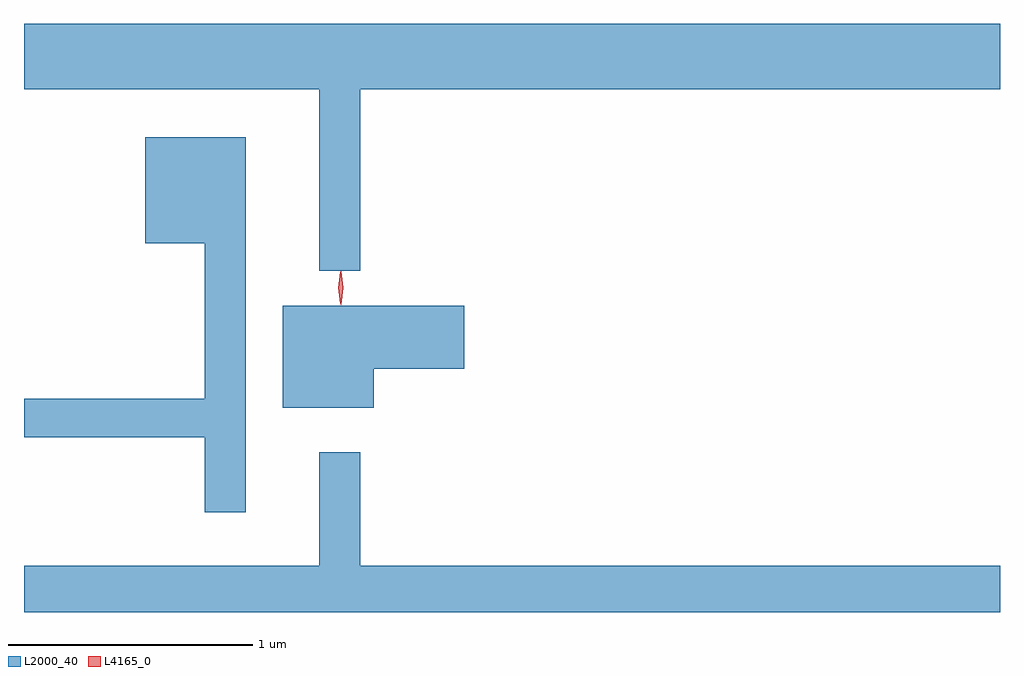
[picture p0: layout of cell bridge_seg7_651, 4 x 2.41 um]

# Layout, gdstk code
import gdstk
lib = gdstk.Library(unit=1e-6, precision=1e-09)
def P(c, l, *ps):  # polygons
    for p in ps: c.add(gdstk.Polygon(p, *l))
L2000_40 = (2000, 40)
L4165_0 = (4165, 0)

bridge_seg7_651 = lib.new_cell('bridge_seg7_651')
P(bridge_seg7_651, L2000_40, [(877.739,1736.516),(880.36,1736.516),(880.36,1736.784),(876.36,1736.784),(876.36,1736.516),(877.571,1736.516),(877.571,1735.773),(877.739,1735.773)],
  [(877.269,1736.319),(876.856,1736.319),(876.856,1735.886),(877.101,1735.886),(877.101,1735.249),(876.36,1735.249),(876.36,1735.091),(877.101,1735.091),(877.101,1734.783),(877.269,1734.783)],
  [(877.794,1735.371),(878.164,1735.371),(878.164,1735.629),(877.421,1735.629),(877.421,1735.211),(877.794,1735.211)],
  [(880.36,1734.564),(877.739,1734.564),(877.739,1735.028),(877.571,1735.028),(877.571,1734.564),(876.36,1734.564),(876.36,1734.374),(880.36,1734.374)])
P(bridge_seg7_651, L4165_0, [(877.659,1735.634),(877.65,1735.702),(877.659,1735.77),(877.659,1735.77),(877.66,1735.77),(877.669,1735.702),(877.66,1735.634),(877.66,1735.634)],
  [(877.657,1735.64),(877.657,1735.64),(877.647,1735.703),(877.657,1735.766),(877.657,1735.767),(877.658,1735.766),(877.667,1735.703),(877.658,1735.64)])

lib.write_gds('bridge_seg7_651.gds')
